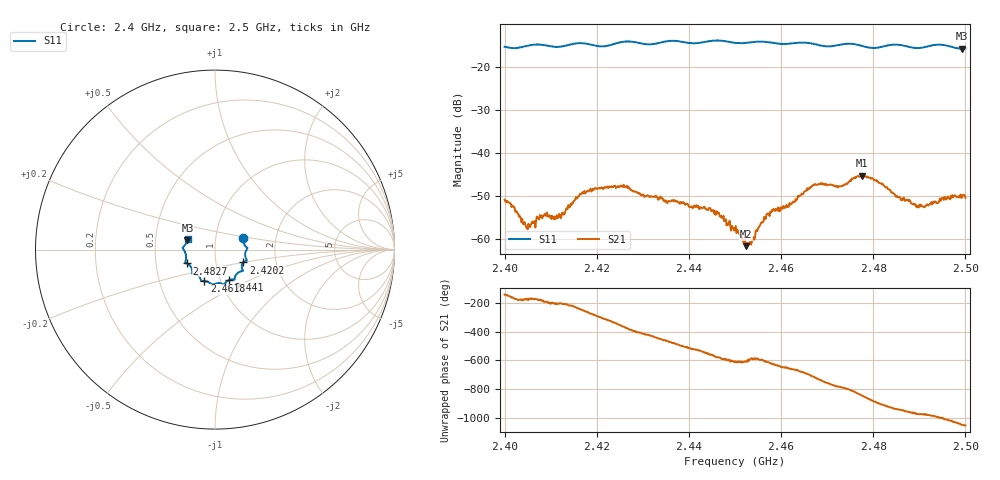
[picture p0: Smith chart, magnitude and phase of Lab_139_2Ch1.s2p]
# Hz S RI R 50
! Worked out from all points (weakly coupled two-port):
!   601 points, 2.4 GHz to 2.5 GHz, reference 50 ohm
!   highest |S21| = -45.29 dB at 2.4775 GHz (marker M1); lowest = -61.7 dB at 2.4523 GHz (marker M2)
!   lowest |S11| = -15.8 dB at 2.4993 GHz (marker M3), VSWR 1.39, Z = 36.5 + j3.86 ohm
!   |S11| at or under -10 dB: start of sweep to end of sweep
!   S12 and S22 are empty: the file has one direction only
!   S11 on the Smith chart (normalised r, x): 2.4 GHz: 1.36, +0.18; 2.4202 GHz: 1.36, -0.20; 2.441 GHz: 1.10, -0.39; 2.4618 GHz: 0.84, -0.30; 2.4827 GHz: 0.72, -0.11; 2.5 GHz: 0.73, +0.09
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2.4e9  0.1583 0.0627  -0.00226 -0.00177  0 0  0 0
2.405167e9  0.1757 0.0132  -0.0015 2.59e-06  0 0  0 0
2.408167e9  0.1792 0.00619  -0.00172 0.000205  0 0  0 0
2.4125e9  0.1685 -0.0338  -0.0018 0.000922  0 0  0 0
2.416667e9  0.1774 -0.0607  -0.00129 0.00306  0 0  0 0
2.420167e9  0.1584 -0.0713  0.00148 0.00353  0 0  0 0
2.426333e9  0.1565 -0.1181  0.00391 -0.00104  0 0  0 0
2.433333e9  0.1115 -0.1511  0.000191 -0.00285  0 0  0 0
2.441e9  0.0785 -0.1696  -0.00227 -0.000693  0 0  0 0
2.444833e9  0.0527 -0.1923  -0.00199 0.000699  0 0  0 0
2.45e9  0.0282 -0.1872  -0.00052 0.00122  0 0  0 0
2.452333e9  0.00482 -0.1886  -0.000293 0.000772  0 0  0 0
2.453833e9  -0.00665 -0.1928  -0.000593 0.000815  0 0  0 0
2.456833e9  -0.0188 -0.193  -0.000615 0.00183  0 0  0 0
2.461833e9  -0.0592 -0.1755  0.00119 0.00233  0 0  0 0
2.466667e9  -0.0786 -0.1684  0.00399 0.000802  0 0  0 0
2.4775e9  -0.1266 -0.1203  -0.00313 -0.00445  0 0  0 0
2.482667e9  -0.1561 -0.0771  -0.00381 0.00115  0 0  0 0
2.483333e9  -0.1605 -0.0753  -0.00345 0.00146  0 0  0 0
2.489667e9  -0.1622 -0.0279  -0.00061 0.00226  0 0  0 0
2.499333e9  -0.1536 0.0514  0.00272 0.0016  0 0  0 0
2.5e9  -0.1518 0.0609  0.00267 0.00137  0 0  0 0
